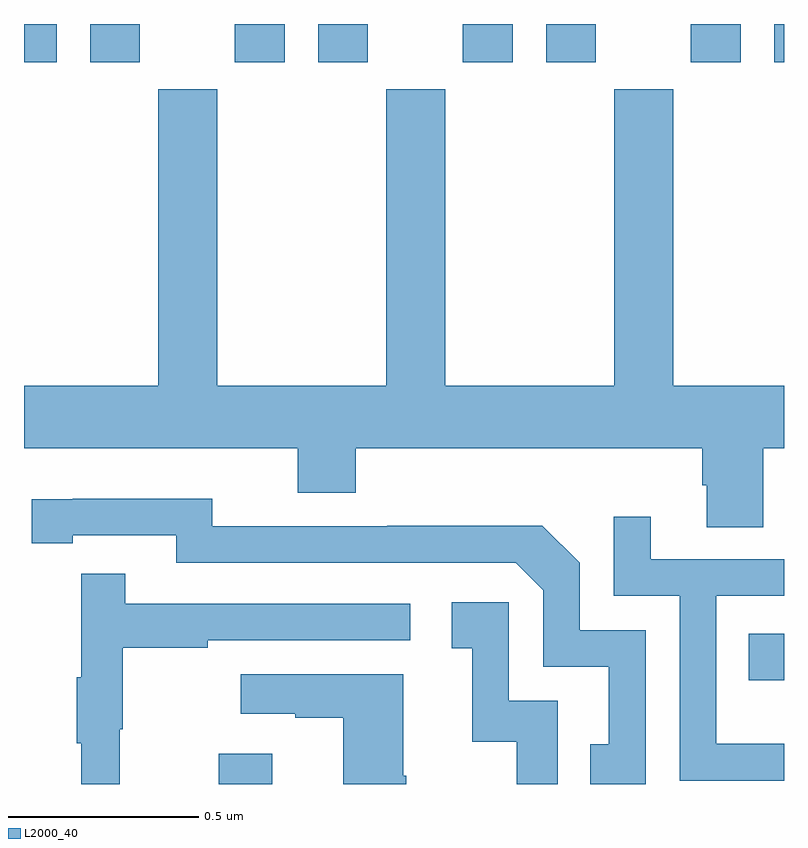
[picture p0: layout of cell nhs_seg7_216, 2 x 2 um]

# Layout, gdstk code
import gdstk
lib = gdstk.Library(unit=1e-6, precision=1e-09)
def R(c, l, rs):  # rectangles x0, y0, x1, y1
    for r in rs: c.add(gdstk.rectangle(r[:2], r[2:], *l))
def P(c, l, *ps):  # polygons
    for p in ps: c.add(gdstk.Polygon(p, *l))
L2000_40 = (2000, 40)

nhs_seg7_216 = lib.new_cell('nhs_seg7_216')
R(nhs_seg7_216, L2000_40, [(113.513,1065,113.653,1065.079), (114.907,1065.273,115,1065.396), (113,1066.899,113.086,1067), (113.174,1066.899,113.305,1067), (113.555,1066.899,113.686,1067), (113.774,1066.899,113.905,1067), (114.155,1066.899,114.286,1067), (114.374,1066.899,114.505,1067), (114.755,1066.899,114.886,1067), (114.974,1066.899,115,1067)])
P(nhs_seg7_216, L2000_40, [(114.945,1065.884),(115,1065.884),(115,1066.048),(114.708,1066.048),(114.708,1066.828),(114.553,1066.828),(114.553,1066.048),(114.108,1066.048),(114.108,1066.828),(113.953,1066.828),(113.953,1066.048),(113.508,1066.048),(113.508,1066.828),(113.353,1066.828),(113.353,1066.048),(113,1066.048),(113,1065.884),(113.72,1065.884),(113.72,1065.767),(113.873,1065.767),(113.873,1065.884),(114.785,1065.884),(114.785,1065.786),(114.797,1065.786),(114.797,1065.676),(114.945,1065.676)],
  [(114.636,1065.405),(114.462,1065.405),(114.462,1065.582),(114.364,1065.68),(113.956,1065.68),(113.956,1065.678),(113.496,1065.678),(113.496,1065.751),(113.128,1065.751),(113.128,1065.75),(113.02,1065.75),(113.02,1065.634),(113.128,1065.634),(113.128,1065.654),(113.4,1065.654),(113.4,1065.582),(114.294,1065.582),(114.366,1065.51),(114.366,1065.309),(114.539,1065.309),(114.539,1065.105),(114.49,1065.105),(114.49,1065),(114.636,1065)],
  [(115,1065.106),(114.822,1065.106),(114.822,1065.495),(115,1065.495),(115,1065.591),(114.649,1065.591),(114.649,1065.703),(114.552,1065.703),(114.552,1065.495),(114.726,1065.495),(114.726,1065.009),(115,1065.009)],
  [(113.252,1065.144),(113.26,1065.144),(113.26,1065.358),(113.483,1065.358),(113.483,1065.378),(114.016,1065.378),(114.016,1065.474),(113.267,1065.474),(113.267,1065.553),(113.15,1065.553),(113.15,1065.281),(113.139,1065.281),(113.139,1065.107),(113.15,1065.107),(113.15,1065),(113.252,1065)],
  [(114.405,1065.219),(114.276,1065.219),(114.276,1065.478),(114.126,1065.478),(114.126,1065.357),(114.179,1065.357),(114.179,1065.111),(114.297,1065.111),(114.297,1065),(114.405,1065)],
  [(114.006,1065.022),(113.998,1065.022),(113.998,1065.289),(113.571,1065.289),(113.571,1065.185),(113.714,1065.185),(113.714,1065.175),(113.84,1065.175),(113.84,1065),(114.006,1065)])

lib.write_gds('nhs_seg7_216.gds')
